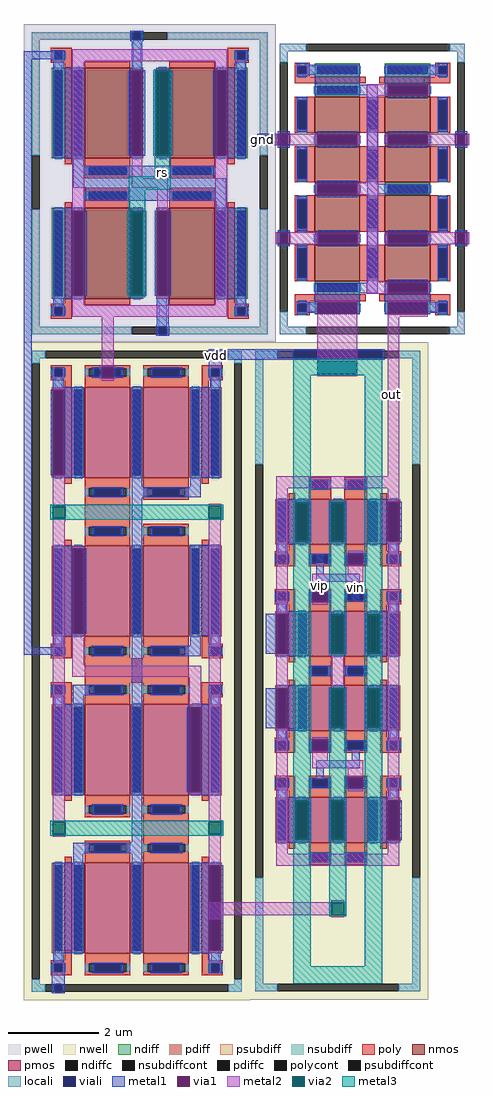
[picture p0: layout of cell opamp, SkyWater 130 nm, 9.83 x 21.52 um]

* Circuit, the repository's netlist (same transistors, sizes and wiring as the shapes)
** sch_path: /home/riff/mbkm-polytron/opamp/mag/opamp.sch
.subckt opamp VDD GND RS VIN VIP OUT
*.PININFO VDD:B GND:B RS:B VIN:B VIP:B OUT:B
x1 net3 net2 RS GND nmoscs
x2 net4 OUT GND nmoscs2
x3 VDD net1 net3 net2 pmoscs
x4 VDD net1 VIP VIN OUT net4 pmosdiff
.ends

* expanding   symbol:  nmoscs.sym # of pins=4
** sym_path: /home/riff/mbkm-polytron/opamp/mag/nmoscs.sym
** sch_path: /home/riff/mbkm-polytron/opamp/mag/nmoscs.sch
.subckt nmoscs D3 D4 RS GND
*.PININFO RS:B D3:B D4:B GND:B
XM4 D4 D3 RS GND sky130_fd_pr__nfet_01v8 L=1 W=2 nf=1 m=2
XM3 D3 D3 GND GND sky130_fd_pr__nfet_01v8 L=1 W=2 nf=1 m=2
XM1 D3 D3 D3 GND sky130_fd_pr__nfet_01v8 L=0.15 W=2 nf=1 m=2
XM2 D4 D4 D4 GND sky130_fd_pr__nfet_01v8 L=0.15 W=2 nf=1 m=2
.ends


* expanding   symbol:  nmoscs2.sym # of pins=3
** sym_path: /home/riff/mbkm-polytron/opamp/mag/nmoscs2.sym
** sch_path: /home/riff/mbkm-polytron/opamp/mag/nmoscs2.sch
.subckt nmoscs2 D8 D9 GND
*.PININFO GND:B D9:B D8:B
XM8 D8 D8 GND GND sky130_fd_pr__nfet_01v8 L=0.8 W=1 nf=1 m=4
XM9 D9 D8 GND GND sky130_fd_pr__nfet_01v8 L=0.8 W=1 nf=1 m=4
XM1 D8 D8 D8 GND sky130_fd_pr__nfet_01v8 L=0.15 W=1 nf=1 m=2
XM2 D9 D9 D9 GND sky130_fd_pr__nfet_01v8 L=0.15 W=1 nf=1 m=2
.ends


* expanding   symbol:  pmoscs.sym # of pins=4
** sym_path: /home/riff/mbkm-polytron/opamp/mag/pmoscs.sym
** sch_path: /home/riff/mbkm-polytron/opamp/mag/pmoscs.sch
.subckt pmoscs VDD D5 D1 D2
*.PININFO VDD:B D5:B D2:B D1:B
XM5 D5 D2 VDD VDD sky130_fd_pr__pfet_01v8 L=1 W=2 nf=1 m=2
XM2 D2 D2 VDD VDD sky130_fd_pr__pfet_01v8 L=1 W=2 nf=1 m=2
XM1 D1 D2 VDD VDD sky130_fd_pr__pfet_01v8 L=1 W=2 nf=1 m=2
XM3 VDD VDD VDD VDD sky130_fd_pr__pfet_01v8 L=1 W=2 nf=1 m=2
XM4 VDD VDD VDD VDD sky130_fd_pr__pfet_01v8 L=0.15 W=2 nf=1 m=2
XM6 D1 D1 D1 VDD sky130_fd_pr__pfet_01v8 L=0.15 W=2 nf=1 m=2
XM7 D2 D2 D2 VDD sky130_fd_pr__pfet_01v8 L=0.15 W=2 nf=1 m=2
XM8 D5 D5 D5 VDD sky130_fd_pr__pfet_01v8 L=0.15 W=2 nf=1 m=2
.ends


* expanding   symbol:  pmosdiff.sym # of pins=6
** sym_path: /home/riff/mbkm-polytron/opamp/mag/pmosdiff.sym
** sch_path: /home/riff/mbkm-polytron/opamp/mag/pmosdiff.sch
.subckt pmosdiff VDD D5 VIP VIN OUT D6
*.PININFO VIP:I VIN:I D6:B D5:B OUT:O VDD:B
XM6 D6 VIN D5 VDD sky130_fd_pr__pfet_01v8 L=0.5 W=1 nf=1 m=4
XM7 OUT VIP D5 VDD sky130_fd_pr__pfet_01v8 L=0.5 W=1 nf=1 m=4
XM1 D6 D6 D6 VDD sky130_fd_pr__pfet_01v8 L=0.15 W=1 nf=1 m=4
XM2 OUT OUT OUT VDD sky130_fd_pr__pfet_01v8 L=0.15 W=1 nf=1 m=4
.ends

.end

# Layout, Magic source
magic
tech sky130A
magscale 1 2
<< locali >>
rect 1046 3790 1134 3824
<< viali >>
rect 1012 3790 1046 3824
<< metal1 >>
rect -30 4161 140 4195
rect -30 1568 6 4161
rect 1000 3824 1135 3833
rect 1000 3790 1012 3824
rect 1046 3790 1135 3824
rect 1000 3781 1135 3790
rect 1255 3039 1265 3091
rect 1441 3039 1451 3091
rect 1565 3036 1575 3088
rect 1751 3036 1761 3088
rect 786 2836 1156 2882
rect 304 2753 314 2805
rect 366 2753 376 2805
rect 1417 1768 1451 1891
rect -30 1534 140 1568
<< via1 >>
rect 1265 3039 1441 3091
rect 1575 3036 1751 3088
rect 314 2753 366 2805
<< metal2 >>
rect 1265 3091 1441 3101
rect 314 2805 366 3076
rect 1265 2829 1441 3039
rect 1265 2763 1441 2773
rect 1575 3088 1751 3098
rect 1575 3026 1751 3036
rect 314 2743 366 2753
rect 1575 2268 1627 3026
rect 1242 1817 1310 1891
rect 786 442 844 444
rect 1327 442 1383 452
rect 786 386 1327 442
rect 1383 386 1392 442
rect 786 367 844 386
rect 1327 376 1383 386
<< via2 >>
rect 1265 2773 1441 2829
rect 1327 386 1383 442
<< metal3 >>
rect 547 3584 619 3735
rect 1255 2829 1451 2834
rect 1255 2773 1265 2829
rect 1441 2773 1451 2829
rect 1255 2768 1451 2773
rect 1317 442 1393 712
rect 1317 386 1327 442
rect 1383 386 1393 442
rect 1317 381 1393 386
use nmoscs2  nmoscs2_0
transform 0 -1 1719 1 0 1867
box 1081 -216 2363 638
use nmoscs  nmoscs_0
transform 1 0 183 0 1 4165
box -213 -1253 899 151
use pmoscs  pmoscs_0
transform 1 0 148 0 1 752
box -178 -740 820 2160
use pmosdiff  pmosdiff_0
transform 1 0 1054 0 1 684
box -98 -671 700 2228
<< labels >>
flabel viali 1025 3807 1025 3807 0 FreeSans 480 0 0 0 gnd
port 1 nsew
flabel metal1 818 2856 818 2856 0 FreeSans 480 0 0 0 vdd
port 0 nsew
flabel metal2 1592 2680 1592 2680 0 FreeSans 480 0 0 0 out
port 2 nsew
flabel metal2 1275 1841 1275 1841 0 FreeSans 480 0 0 0 vip
port 3 nsew
flabel metal1 1431 1833 1431 1833 0 FreeSans 480 0 0 0 vin
port 4 nsew
flabel metal3 583 3660 583 3660 0 FreeSans 480 0 0 0 rs
port 5 nsew
<< end >>

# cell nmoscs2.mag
magic
tech sky130A
magscale 1 2
<< psubdiff >>
rect 1081 585 1180 619
rect 2280 585 2363 619
rect 1081 504 1115 585
rect 2329 504 2363 585
rect 1081 -163 1115 -130
rect 2329 -163 2363 -130
rect 1081 -197 1180 -163
rect 2280 -197 2363 -163
<< psubdiffcont >>
rect 1180 585 2280 619
rect 1081 -130 1115 504
rect 2329 -130 2363 504
rect 1180 -197 2280 -163
<< poly >>
rect 1165 538 1257 554
rect 1165 504 1181 538
rect 1215 504 1257 538
rect 1165 488 1257 504
rect 1227 466 1257 488
rect 2187 538 2279 554
rect 2187 504 2229 538
rect 2263 504 2279 538
rect 2187 488 2279 504
rect 2187 462 2217 488
rect 1227 -66 1257 -44
rect 1165 -82 1257 -66
rect 1165 -116 1181 -82
rect 1215 -116 1257 -82
rect 1165 -132 1257 -116
rect 2187 -66 2217 -15
rect 2187 -82 2279 -66
rect 2187 -116 2229 -82
rect 2263 -116 2279 -82
rect 2187 -132 2279 -116
<< polycont >>
rect 1181 504 1215 538
rect 2229 504 2263 538
rect 1181 -116 1215 -82
rect 2229 -116 2263 -82
<< locali >>
rect 1081 585 1180 619
rect 2280 585 2363 619
rect 1081 504 1115 585
rect 1165 504 1181 538
rect 1215 504 1231 538
rect 2213 504 2229 538
rect 2263 504 2279 538
rect 2329 504 2363 585
rect 1181 466 1215 504
rect 2229 462 2263 504
rect 1181 -82 1215 -44
rect 2229 -82 2263 -15
rect 1165 -116 1181 -82
rect 1215 -116 1231 -82
rect 2213 -116 2229 -82
rect 2263 -116 2279 -82
rect 1081 -163 1115 -130
rect 2329 -163 2363 -130
rect 1081 -197 1180 -163
rect 2280 -197 2363 -163
<< viali >>
rect 1487 585 1521 619
rect 1923 585 1957 619
rect 1181 504 1215 538
rect 2229 504 2263 538
rect 1181 -116 1215 -82
rect 2229 -116 2263 -82
rect 1487 -197 1521 -163
rect 1923 -197 1957 -163
<< metal1 >>
rect 1468 576 1478 628
rect 1530 576 1540 628
rect 1904 576 1914 628
rect 1966 576 1976 628
rect 1169 538 1227 544
rect 1169 504 1181 538
rect 1215 504 1227 538
rect 1169 498 1227 504
rect 2217 538 2275 544
rect 2217 504 2229 538
rect 2263 504 2275 538
rect 2217 498 2275 504
rect 1175 466 1221 498
rect 2223 466 2269 498
rect 1175 266 1309 466
rect 1468 277 1478 453
rect 1530 277 1540 453
rect 1686 278 1696 454
rect 1748 278 1758 454
rect 1904 278 1914 454
rect 1966 278 1976 454
rect 2135 266 2269 466
rect 1262 234 1308 266
rect 2135 234 2181 266
rect 1262 188 2181 234
rect 1262 187 2125 188
rect 1175 144 1309 156
rect 1175 -31 1260 144
rect 1175 -44 1213 -31
rect 1219 -32 1260 -31
rect 1312 -32 1322 144
rect 1468 -32 1478 144
rect 1530 -32 1540 144
rect 1219 -44 1309 -32
rect 1699 -44 1745 187
rect 2135 144 2269 156
rect 1904 -32 1914 144
rect 1966 -32 1976 144
rect 2122 -32 2132 144
rect 2184 -32 2269 144
rect 2135 -44 2269 -32
rect 1175 -76 1221 -44
rect 2223 -76 2269 -44
rect 1169 -82 1227 -76
rect 1169 -116 1181 -82
rect 1215 -116 1227 -82
rect 1169 -122 1227 -116
rect 2217 -82 2275 -76
rect 2217 -116 2229 -82
rect 2263 -116 2275 -82
rect 2217 -122 2275 -116
rect 1468 -206 1478 -154
rect 1530 -206 1540 -154
rect 1904 -206 1914 -154
rect 1966 -206 1976 -154
<< via1 >>
rect 1478 619 1530 628
rect 1478 585 1487 619
rect 1487 585 1521 619
rect 1521 585 1530 619
rect 1478 576 1530 585
rect 1914 619 1966 628
rect 1914 585 1923 619
rect 1923 585 1957 619
rect 1957 585 1966 619
rect 1914 576 1966 585
rect 1478 277 1530 453
rect 1696 278 1748 454
rect 1914 278 1966 454
rect 1260 -32 1312 144
rect 1478 -32 1530 144
rect 1914 -32 1966 144
rect 2132 -32 2184 144
rect 1478 -163 1530 -154
rect 1478 -197 1487 -163
rect 1487 -197 1521 -163
rect 1521 -197 1530 -163
rect 1478 -206 1530 -197
rect 1914 -163 1966 -154
rect 1914 -197 1923 -163
rect 1923 -197 1957 -163
rect 1957 -197 1966 -163
rect 1914 -206 1966 -197
<< metal2 >>
rect 1478 628 1530 638
rect 1478 453 1530 576
rect 1914 628 1966 638
rect 1478 267 1530 277
rect 1696 454 1748 464
rect 1696 237 1748 278
rect 1914 454 1966 576
rect 1914 268 1966 278
rect 1260 185 2184 237
rect 1260 144 1312 185
rect 1260 -42 1312 -32
rect 1478 144 1530 154
rect 1478 -154 1530 -32
rect 1478 -216 1530 -206
rect 1914 144 1966 154
rect 1914 -154 1966 -32
rect 2132 144 2184 185
rect 2132 -42 2184 -32
rect 1914 -216 1966 -206
use sky130_fd_pr__nfet_01v8_6H9P4D  sky130_fd_pr__nfet_01v8_6H9P4D_0
transform 1 0 2202 0 1 56
box -73 -126 73 126
use sky130_fd_pr__nfet_01v8_6H9P4D  sky130_fd_pr__nfet_01v8_6H9P4D_1
transform 1 0 1242 0 1 56
box -73 -126 73 126
use sky130_fd_pr__nfet_01v8_6H9P4D  sky130_fd_pr__nfet_01v8_6H9P4D_2
transform 1 0 1242 0 1 366
box -73 -126 73 126
use sky130_fd_pr__nfet_01v8_6H9P4D  sky130_fd_pr__nfet_01v8_6H9P4D_3
transform 1 0 2202 0 1 366
box -73 -126 73 126
use sky130_fd_pr__nfet_01v8_YJHC9X  sky130_fd_pr__nfet_01v8_YJHC9X_0
transform 1 0 1722 0 1 211
box -465 -343 465 343
<< labels >>
flabel metal1 1248 383 1248 383 0 FreeSans 480 0 0 0 d8
port 1 nsew
flabel metal1 1243 49 1243 49 0 FreeSans 480 0 0 0 d9
port 2 nsew
flabel locali 2292 609 2292 609 0 FreeSans 480 0 0 0 gnd
port 0 nsew
<< end >>

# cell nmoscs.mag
magic
tech sky130A
magscale 1 2
<< pwell >>
rect -213 -1253 899 151
<< psubdiff >>
rect -177 81 263 115
rect 421 81 863 115
rect -177 -427 -143 81
rect -177 -1183 -143 -667
rect 829 -427 863 81
rect 829 -1183 863 -667
rect -177 -1217 263 -1183
rect 421 -1217 863 -1183
<< psubdiffcont >>
rect 263 81 421 115
rect -177 -667 -143 -427
rect 829 -667 863 -427
rect 263 -1217 421 -1183
<< poly >>
rect -93 30 -1 46
rect -93 -4 -77 30
rect -43 -4 -1 30
rect -93 -20 -1 -4
rect -31 -42 -1 -20
rect 687 30 779 46
rect 687 -4 729 30
rect 763 -4 779 30
rect 687 -20 779 -4
rect 687 -42 717 -20
rect -31 -1082 -1 -1060
rect -93 -1098 -1 -1082
rect -93 -1132 -77 -1098
rect -43 -1132 -1 -1098
rect -93 -1148 -1 -1132
rect 687 -1082 717 -1080
rect 687 -1098 779 -1082
rect 687 -1132 729 -1098
rect 763 -1132 779 -1098
rect 687 -1148 779 -1132
<< polycont >>
rect -77 -4 -43 30
rect 729 -4 763 30
rect -77 -1132 -43 -1098
rect 729 -1132 763 -1098
<< locali >>
rect -177 81 263 115
rect 421 81 863 115
rect -177 -427 -143 81
rect -93 -4 -77 30
rect -43 -4 -27 30
rect -77 -42 -43 -4
rect 269 -39 303 81
rect 713 -4 729 30
rect 763 -4 779 30
rect 729 -42 763 -4
rect 829 -427 863 81
rect -177 -1183 -143 -667
rect -77 -1098 -43 -1060
rect -93 -1132 -77 -1098
rect -43 -1132 -27 -1098
rect 383 -1183 417 -1048
rect 729 -1098 763 -1060
rect 713 -1132 729 -1098
rect 763 -1132 779 -1098
rect 829 -1183 863 -667
rect -177 -1217 263 -1183
rect 421 -1217 863 -1183
<< viali >>
rect 269 81 303 115
rect -77 -4 -43 30
rect 729 -4 763 30
rect 269 -430 303 -54
rect 383 -430 417 -54
rect 269 -1048 303 -672
rect 383 -1048 417 -672
rect -77 -1132 -43 -1098
rect 729 -1132 763 -1098
rect 383 -1217 417 -1183
<< metal1 >>
rect 257 115 315 121
rect 257 81 269 115
rect 303 81 315 115
rect 257 75 315 81
rect -89 30 -31 36
rect -89 -4 -77 30
rect -43 -4 -31 30
rect -89 -10 -31 -4
rect -83 -42 -37 -10
rect -83 -442 51 -42
rect 263 -54 309 75
rect 717 30 775 36
rect 717 -4 729 30
rect 763 -4 775 30
rect 717 -10 775 -4
rect 723 -42 769 -10
rect 377 -54 423 -42
rect 635 -54 769 -42
rect 250 -430 260 -54
rect 312 -430 322 -54
rect 364 -430 374 -54
rect 426 -430 436 -54
rect 622 -430 632 -54
rect 684 -430 769 -54
rect 263 -442 309 -430
rect 377 -442 423 -430
rect 635 -442 769 -430
rect 5 -474 51 -442
rect 5 -530 625 -474
rect 5 -572 681 -530
rect 61 -628 681 -572
rect 635 -660 681 -628
rect -83 -672 51 -660
rect 263 -672 309 -660
rect 377 -672 423 -660
rect -83 -1048 2 -672
rect 54 -1048 64 -672
rect 250 -1048 260 -672
rect 312 -1048 322 -672
rect 364 -1048 374 -672
rect 426 -1048 436 -672
rect -83 -1060 51 -1048
rect 263 -1060 309 -1048
rect -83 -1092 -37 -1060
rect -89 -1098 -31 -1092
rect -89 -1132 -77 -1098
rect -43 -1132 -31 -1098
rect -89 -1138 -31 -1132
rect 374 -1177 426 -1048
rect 635 -1060 769 -660
rect 723 -1092 769 -1060
rect 717 -1098 775 -1092
rect 717 -1132 729 -1098
rect 763 -1132 775 -1098
rect 717 -1138 775 -1132
rect 371 -1183 429 -1177
rect 371 -1217 383 -1183
rect 417 -1217 429 -1183
rect 371 -1223 429 -1217
<< via1 >>
rect 260 -430 269 -54
rect 269 -430 303 -54
rect 303 -430 312 -54
rect 374 -430 383 -54
rect 383 -430 417 -54
rect 417 -430 426 -54
rect 632 -430 684 -54
rect 2 -1048 54 -672
rect 260 -1048 269 -672
rect 269 -1048 303 -672
rect 303 -1048 312 -672
rect 374 -1048 383 -672
rect 383 -1048 417 -672
rect 417 -1048 426 -672
<< metal2 >>
rect 1 -13 684 39
rect 2 -672 54 -13
rect 260 -54 312 -48
rect 260 -440 312 -430
rect 372 -54 428 -44
rect 372 -440 428 -430
rect 632 -54 684 -13
rect 263 -530 309 -440
rect 263 -572 423 -530
rect 377 -662 423 -572
rect 2 -1089 54 -1048
rect 258 -672 314 -662
rect 258 -1058 314 -1048
rect 374 -672 426 -662
rect 374 -1060 426 -1048
rect 632 -1089 684 -430
rect 2 -1141 684 -1089
<< via2 >>
rect 372 -430 374 -54
rect 374 -430 426 -54
rect 426 -430 428 -54
rect 258 -1048 260 -672
rect 260 -1048 312 -672
rect 312 -1048 314 -672
<< metal3 >>
rect 362 -54 438 -49
rect 358 -430 372 -54
rect 428 -430 442 -54
rect 362 -435 438 -430
rect 364 -521 436 -435
rect 250 -581 436 -521
rect 250 -667 322 -581
rect 248 -672 324 -667
rect 244 -1048 258 -672
rect 314 -1048 328 -672
rect 248 -1053 324 -1048
use sky130_fd_pr__nfet_01v8_27FZYL  sky130_fd_pr__nfet_01v8_27FZYL_0
transform 1 0 343 0 1 -273
box -344 -257 344 257
use sky130_fd_pr__nfet_01v8_Q6296P  sky130_fd_pr__nfet_01v8_Q6296P_0
transform 1 0 343 0 1 -829
box -344 -257 344 257
use sky130_fd_pr__nfet_01v8_TC9PLT  sky130_fd_pr__nfet_01v8_TC9PLT_0
transform 1 0 702 0 1 -860
box -73 -226 73 226
use sky130_fd_pr__nfet_01v8_TC9PLT  sky130_fd_pr__nfet_01v8_TC9PLT_1
transform 1 0 -16 0 1 -242
box -73 -226 73 226
use sky130_fd_pr__nfet_01v8_TC9PLT  sky130_fd_pr__nfet_01v8_TC9PLT_2
transform 1 0 -16 0 1 -860
box -73 -226 73 226
use sky130_fd_pr__nfet_01v8_TC9PLT  sky130_fd_pr__nfet_01v8_TC9PLT_3
transform 1 0 702 0 1 -242
box -73 -226 73 226
<< labels >>
flabel viali 398 -1196 398 -1196 0 FreeSans 480 0 0 0 gnd
port 0 nsew
flabel metal1 -17 -169 -17 -169 0 FreeSans 480 0 0 0 d3
port 1 nsew
flabel metal2 653 -12 653 -12 0 FreeSans 480 0 0 0 d4
port 2 nsew
flabel metal3 395 -462 395 -462 0 FreeSans 480 0 0 0 rs
port 3 nsew
<< end >>

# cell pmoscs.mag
magic
tech sky130A
magscale 1 2
<< nwell >>
rect -178 -740 820 2160
<< nsubdiff >>
rect -142 2090 -82 2124
rect 724 2090 784 2124
rect -142 2068 -108 2090
rect 750 2068 784 2090
rect -142 -670 -108 -648
rect 750 -670 784 -648
rect -142 -704 -82 -670
rect 724 -704 784 -670
<< nsubdiffcont >>
rect -82 2090 724 2124
rect -142 -648 -108 2068
rect 750 -648 784 2068
rect -82 -704 724 -670
<< poly >>
rect -58 2044 34 2060
rect -58 2010 -42 2044
rect -8 2010 34 2044
rect -58 1994 34 2010
rect 4 1963 34 1994
rect 608 2044 700 2060
rect 608 2010 650 2044
rect 684 2010 700 2044
rect 608 1994 700 2010
rect 608 1969 638 1994
rect 92 1359 292 1467
rect 4 832 34 852
rect -58 816 34 832
rect -58 782 -42 816
rect -8 782 34 816
rect -58 766 34 782
rect 608 832 638 863
rect 608 816 700 832
rect 608 782 650 816
rect 684 782 700 816
rect 350 767 550 768
rect -58 645 34 661
rect 92 660 550 767
rect 608 766 700 782
rect 92 659 292 660
rect -58 611 -42 645
rect -8 611 34 645
rect -58 595 34 611
rect 4 564 34 595
rect 608 645 700 661
rect 608 611 650 645
rect 684 611 700 645
rect 608 595 700 611
rect 608 564 638 595
rect 350 -37 550 67
rect 4 -565 34 -520
rect -58 -581 34 -565
rect -58 -615 -42 -581
rect -8 -615 34 -581
rect -58 -631 34 -615
rect 608 -565 638 -560
rect 608 -581 700 -565
rect 608 -615 650 -581
rect 684 -615 700 -581
rect 608 -631 700 -615
<< polycont >>
rect -42 2010 -8 2044
rect 650 2010 684 2044
rect -42 782 -8 816
rect 650 782 684 816
rect -42 611 -8 645
rect 650 611 684 645
rect -42 -615 -8 -581
rect 650 -615 684 -581
<< locali >>
rect -142 2090 -82 2124
rect 724 2090 784 2124
rect -142 2068 -108 2090
rect 750 2068 784 2090
rect -58 2010 -42 2044
rect -8 2010 8 2044
rect 634 2010 650 2044
rect 684 2010 700 2044
rect -42 1963 -8 2010
rect 650 1966 684 2010
rect -42 816 -8 876
rect 650 816 684 863
rect -58 782 -42 816
rect -8 782 8 816
rect 634 782 650 816
rect 684 782 700 816
rect -58 611 -42 645
rect -8 611 8 645
rect 634 611 650 645
rect 684 611 700 645
rect -42 565 -8 611
rect 650 564 684 611
rect -42 -581 -8 -521
rect 650 -581 684 -535
rect -58 -615 -43 -581
rect -8 -615 8 -581
rect 634 -615 650 -581
rect 684 -615 700 -581
rect -142 -670 -108 -648
rect 750 -670 784 -648
rect -142 -704 -82 -670
rect 724 -704 784 -670
<< viali >>
rect 650 2090 684 2124
rect -42 2010 -8 2044
rect 650 2010 684 2044
rect -42 782 -8 816
rect 650 782 684 816
rect -42 611 -8 645
rect 650 611 684 645
rect -43 -615 -42 -581
rect -42 -615 -9 -581
rect 650 -615 684 -581
rect -42 -704 -8 -670
<< metal1 >>
rect 638 2124 696 2130
rect 638 2090 650 2124
rect 684 2090 696 2124
rect -54 2044 4 2050
rect -54 2010 -42 2044
rect -8 2010 4 2044
rect -54 2004 4 2010
rect 638 2044 696 2090
rect 638 2010 650 2044
rect 684 2010 696 2044
rect 638 2004 696 2010
rect -49 1963 -2 2004
rect -49 1951 86 1963
rect -59 1575 -49 1951
rect 3 1575 86 1951
rect -48 1563 86 1575
rect 298 1522 344 1964
rect 645 1963 690 2004
rect 556 1563 690 1963
rect 556 1522 602 1563
rect 298 1476 384 1522
rect 521 1476 602 1522
rect -48 1252 86 1263
rect -48 876 36 1252
rect 88 876 98 1252
rect -48 863 86 876
rect -48 822 -2 863
rect -54 816 4 822
rect -54 782 -42 816
rect -8 782 4 816
rect -54 776 4 782
rect -54 645 4 651
rect -54 611 -42 645
rect -8 611 4 645
rect -54 605 4 611
rect 39 605 121 651
rect -48 564 -2 605
rect 39 564 86 605
rect -48 164 86 564
rect 298 -47 344 1476
rect 555 868 689 1267
rect 556 867 689 868
rect 556 822 602 867
rect 644 822 690 863
rect 521 776 603 822
rect 638 816 696 822
rect 638 782 650 816
rect 684 782 696 816
rect 638 776 696 782
rect 638 645 696 651
rect 638 611 650 645
rect 684 611 696 645
rect 638 605 696 611
rect 644 564 690 605
rect 556 552 690 564
rect 543 176 553 552
rect 605 176 690 552
rect 556 164 690 176
rect 41 -93 121 -47
rect 258 -93 344 -47
rect 41 -134 85 -93
rect -48 -534 86 -134
rect 298 -534 344 -93
rect 556 -146 690 -134
rect 556 -522 639 -146
rect 691 -522 701 -146
rect 556 -534 690 -522
rect -48 -575 -2 -534
rect 639 -575 690 -534
rect -54 -581 4 -575
rect -54 -615 -43 -581
rect -9 -615 4 -581
rect -54 -670 4 -615
rect 638 -581 696 -575
rect 638 -615 650 -581
rect 684 -615 696 -581
rect 638 -621 696 -615
rect -54 -704 -42 -670
rect -8 -704 4 -670
rect -54 -710 4 -704
<< via1 >>
rect -49 1575 3 1951
rect 36 876 88 1252
rect 553 176 605 552
rect 639 -522 691 -146
<< metal2 >>
rect -49 1951 3 1961
rect -49 1448 3 1575
rect -51 1438 5 1448
rect -51 1372 5 1382
rect 637 1439 693 1449
rect 637 1373 693 1383
rect -49 55 3 1372
rect 36 1252 88 1262
rect 36 734 88 876
rect 36 686 605 734
rect 553 552 605 686
rect 553 166 605 176
rect 639 55 691 1373
rect -51 45 5 55
rect -51 -21 5 -11
rect 637 45 693 55
rect 637 -21 693 -11
rect 639 -146 691 -21
rect 639 -532 691 -522
<< via2 >>
rect -51 1382 5 1438
rect 637 1383 693 1439
rect -51 -11 5 45
rect 637 -11 693 45
<< metal3 >>
rect -61 1439 703 1444
rect -61 1438 637 1439
rect -61 1382 -51 1438
rect 5 1383 637 1438
rect 693 1383 703 1439
rect 5 1382 703 1383
rect -61 1378 703 1382
rect -61 1377 15 1378
rect -61 45 703 50
rect -61 -11 -51 45
rect 5 -11 637 45
rect 693 -11 703 45
rect -61 -16 703 -11
use sky130_fd_pr__pfet_01v8_2ZH9AN  sky130_fd_pr__pfet_01v8_2ZH9AN_0
transform 1 0 19 0 1 364
box -109 -262 109 262
use sky130_fd_pr__pfet_01v8_2ZH9AN  sky130_fd_pr__pfet_01v8_2ZH9AN_1
transform 1 0 623 0 1 1763
box -109 -262 109 262
use sky130_fd_pr__pfet_01v8_2ZH9AN  sky130_fd_pr__pfet_01v8_2ZH9AN_2
transform 1 0 623 0 1 1063
box -109 -262 109 262
use sky130_fd_pr__pfet_01v8_2ZH9AN  sky130_fd_pr__pfet_01v8_2ZH9AN_3
transform 1 0 623 0 1 364
box -109 -262 109 262
use sky130_fd_pr__pfet_01v8_2ZH9AN  sky130_fd_pr__pfet_01v8_2ZH9AN_4
transform 1 0 623 0 1 -334
box -109 -262 109 262
use sky130_fd_pr__pfet_01v8_2ZH9AN  sky130_fd_pr__pfet_01v8_2ZH9AN_5
transform 1 0 19 0 1 -334
box -109 -262 109 262
use sky130_fd_pr__pfet_01v8_2ZH9AN  sky130_fd_pr__pfet_01v8_2ZH9AN_6
transform 1 0 19 0 1 1063
box -109 -262 109 262
use sky130_fd_pr__pfet_01v8_2ZH9AN  sky130_fd_pr__pfet_01v8_2ZH9AN_7
transform 1 0 19 0 1 1763
box -109 -262 109 262
use sky130_fd_pr__pfet_01v8_SDE6B7  sky130_fd_pr__pfet_01v8_SDE6B7_0
transform 1 0 321 0 1 1763
box -323 -300 323 300
use sky130_fd_pr__pfet_01v8_SDE6B7  sky130_fd_pr__pfet_01v8_SDE6B7_1
transform 1 0 321 0 1 1063
box -323 -300 323 300
use sky130_fd_pr__pfet_01v8_SDE6B7  sky130_fd_pr__pfet_01v8_SDE6B7_2
transform 1 0 321 0 1 364
box -323 -300 323 300
use sky130_fd_pr__pfet_01v8_SDE6B7  sky130_fd_pr__pfet_01v8_SDE6B7_3
transform 1 0 321 0 1 -334
box -323 -300 323 300
<< labels >>
flabel metal1 584 816 584 816 0 FreeSans 480 0 0 0 d2
port 2 nsew
flabel metal2 64 776 64 776 0 FreeSans 480 0 0 0 d1
port 1 nsew
flabel metal1 664 2074 664 2074 0 FreeSans 480 0 0 0 vdd
port 0 nsew
flabel nwell 183 -351 183 -351 0 FreeSans 160 0 0 0 D
flabel nwell -23 -342 -23 -342 0 FreeSans 160 0 0 0 S
flabel nwell 61 -338 61 -338 0 FreeSans 160 0 0 0 S
flabel nwell 319 -339 319 -339 0 FreeSans 160 0 0 0 S
flabel nwell 428 -353 428 -353 0 FreeSans 160 0 0 0 M5
flabel nwell 578 -334 578 -334 0 FreeSans 160 0 0 0 D5
flabel nwell 667 -339 667 -339 0 FreeSans 160 0 0 0 D5
flabel nwell 666 361 666 361 0 FreeSans 160 0 0 0 D1
flabel nwell 578 362 578 362 0 FreeSans 160 0 0 0 D1
flabel nwell 463 367 463 367 0 FreeSans 160 0 0 0 M1
flabel nwell 320 367 320 367 0 FreeSans 160 0 0 0 S
flabel nwell 199 366 199 366 0 FreeSans 160 0 0 0 M2
flabel nwell 624 366 624 366 0 FreeSans 160 0 0 0 D
flabel nwell 623 -336 623 -336 0 FreeSans 160 0 0 0 D
flabel nwell 25 -333 25 -333 0 FreeSans 160 0 0 0 D
flabel nwell 19 366 19 366 0 FreeSans 160 0 0 0 D
flabel nwell 63 365 63 365 0 FreeSans 160 0 0 0 D2
flabel nwell -25 365 -25 365 0 FreeSans 160 0 0 0 D2
flabel nwell 621 1056 621 1056 0 FreeSans 160 0 0 0 D
flabel nwell 669 1056 669 1056 0 FreeSans 160 0 0 0 D2
flabel nwell 579 1060 579 1060 0 FreeSans 160 0 0 0 D2
flabel nwell 460 1063 460 1063 0 FreeSans 160 0 0 0 M2
flabel nwell 320 1060 320 1060 0 FreeSans 160 0 0 0 S
flabel nwell 181 1062 181 1062 0 FreeSans 160 0 0 0 M1
flabel nwell 63 1063 63 1063 0 FreeSans 160 0 0 0 D1
flabel nwell 17 1060 17 1060 0 FreeSans 160 0 0 0 D
flabel nwell -25 1063 -25 1063 0 FreeSans 160 0 0 0 D1
flabel nwell 667 1761 667 1761 0 FreeSans 160 0 0 0 S
flabel nwell 621 1762 621 1762 0 FreeSans 160 0 0 0 D
flabel nwell 579 1762 579 1762 0 FreeSans 160 0 0 0 S
flabel nwell 463 1762 463 1762 0 FreeSans 160 0 0 0 D
flabel nwell 320 1762 320 1762 0 FreeSans 160 0 0 0 S
flabel nwell 192 1762 192 1762 0 FreeSans 160 0 0 0 M5
flabel nwell 63 1763 63 1763 0 FreeSans 160 0 0 0 D5
flabel nwell 17 1762 17 1762 0 FreeSans 160 0 0 0 D
flabel nwell -25 1762 -25 1762 0 FreeSans 160 0 0 0 D5
flabel metal2 670 711 670 711 0 FreeSans 480 0 0 0 d5
port 3 nsew
<< end >>

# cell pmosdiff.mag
magic
tech sky130A
magscale 1 2
<< nwell >>
rect -98 -671 700 2228
<< pmos >>
rect 488 220 518 221
<< pdiff >>
rect 518 220 576 221
<< nsubdiff >>
rect -62 2158 33 2192
rect 569 2158 664 2192
rect -62 1690 -28 2158
rect 630 1690 664 2158
rect -62 -600 -28 -132
rect 630 -600 664 -132
rect -62 -634 33 -600
rect 569 -634 664 -600
<< nsubdiffcont >>
rect 33 2158 569 2192
rect -62 -132 -28 1690
rect 630 -132 664 1690
rect 33 -634 569 -600
<< poly >>
rect 84 1306 114 1326
rect 22 1290 114 1306
rect 22 1256 38 1290
rect 72 1256 114 1290
rect 22 1240 114 1256
rect 488 1306 518 1322
rect 488 1290 580 1306
rect 488 1256 530 1290
rect 564 1256 580 1290
rect 488 1240 580 1256
rect 22 1124 114 1140
rect 22 1090 38 1124
rect 72 1090 114 1124
rect 22 1074 114 1090
rect 84 1051 114 1074
rect 488 1124 580 1140
rect 488 1090 530 1124
rect 564 1090 580 1124
rect 488 1074 580 1090
rect 488 1043 518 1074
rect 84 484 114 527
rect 22 468 114 484
rect 22 434 38 468
rect 72 434 114 468
rect 22 418 114 434
rect 488 484 518 500
rect 488 468 580 484
rect 488 434 530 468
rect 564 434 580 468
rect 488 418 580 434
rect 22 302 114 318
rect 22 268 38 302
rect 72 268 114 302
rect 22 252 114 268
rect 84 221 114 252
rect 488 302 580 318
rect 488 268 530 302
rect 564 268 580 302
rect 488 252 580 268
rect 488 221 518 252
<< polycont >>
rect 38 1256 72 1290
rect 530 1256 564 1290
rect 38 1090 72 1124
rect 530 1090 564 1124
rect 38 434 72 468
rect 530 434 564 468
rect 38 268 72 302
rect 530 268 564 302
<< locali >>
rect -62 2158 33 2192
rect 569 2158 664 2192
rect -62 1690 -28 2158
rect 630 1690 664 2158
rect 38 1290 72 1364
rect 530 1290 564 1354
rect 22 1256 38 1290
rect 72 1256 88 1290
rect 514 1256 530 1290
rect 564 1256 580 1290
rect 22 1090 38 1124
rect 72 1090 88 1124
rect 514 1090 530 1124
rect 564 1090 580 1124
rect 38 1043 72 1090
rect 530 1044 564 1090
rect 38 468 72 527
rect 530 468 564 512
rect 22 434 38 468
rect 72 434 88 468
rect 514 434 530 468
rect 564 434 580 468
rect 22 268 38 302
rect 72 268 88 302
rect 514 268 530 302
rect 564 268 580 302
rect 38 221 72 268
rect 530 220 564 268
rect -62 -600 -28 -132
rect 630 -600 664 -132
rect -62 -634 33 -600
rect 569 -634 664 -600
<< viali >>
rect 105 2158 497 2192
rect 38 1256 72 1290
rect 530 1256 564 1290
rect 38 1090 72 1124
rect 530 1090 564 1124
rect 38 434 72 468
rect 530 434 564 468
rect 38 268 72 302
rect 530 268 564 302
<< metal1 >>
rect 93 2192 509 2198
rect 93 2158 105 2192
rect 497 2158 509 2192
rect 93 2152 509 2158
rect 32 1525 166 1537
rect 436 1525 570 1537
rect 32 1349 117 1525
rect 169 1349 179 1525
rect 265 1349 275 1525
rect 327 1349 337 1525
rect 436 1349 521 1525
rect 573 1349 583 1525
rect 32 1337 166 1349
rect 436 1337 570 1349
rect 32 1296 78 1337
rect 26 1290 84 1296
rect 26 1256 38 1290
rect 72 1256 84 1290
rect 26 1250 84 1256
rect 205 1207 239 1290
rect 336 1247 346 1299
rect 414 1247 424 1299
rect 524 1296 570 1337
rect 518 1290 576 1296
rect 518 1256 530 1290
rect 564 1256 576 1290
rect 518 1250 576 1256
rect 205 1173 397 1207
rect 26 1124 84 1130
rect 26 1090 38 1124
rect 72 1090 84 1124
rect 26 1084 84 1090
rect 32 1043 77 1084
rect 178 1081 188 1133
rect 256 1081 266 1133
rect 363 1090 397 1173
rect 518 1124 576 1130
rect 518 1090 530 1124
rect 564 1090 576 1124
rect 518 1084 576 1090
rect 524 1043 570 1084
rect 32 1031 166 1043
rect 436 1031 570 1043
rect -16 855 29 1031
rect 81 855 166 1031
rect 265 855 275 1031
rect 327 855 337 1031
rect 423 855 433 1031
rect 485 855 570 1031
rect 32 843 166 855
rect 436 843 570 855
rect 32 703 166 715
rect 436 703 570 715
rect -16 527 29 703
rect 81 527 166 703
rect 265 527 275 703
rect 327 527 337 703
rect 423 527 433 703
rect 485 527 570 703
rect 32 515 166 527
rect 436 515 570 527
rect 32 474 77 515
rect 26 468 84 474
rect 26 434 38 468
rect 72 434 84 468
rect 26 428 84 434
rect 178 425 188 477
rect 256 425 266 477
rect 523 474 570 515
rect 518 468 576 474
rect 518 434 530 468
rect 564 434 576 468
rect 518 428 576 434
rect 363 385 397 428
rect 205 351 397 385
rect 205 308 239 351
rect 26 302 84 308
rect 26 268 38 302
rect 72 268 84 302
rect 26 262 84 268
rect 32 221 78 262
rect 336 259 346 311
rect 414 259 424 311
rect 518 302 576 308
rect 518 268 530 302
rect 564 268 576 302
rect 518 262 576 268
rect 524 221 570 262
rect 32 209 166 221
rect 436 209 570 221
rect 32 33 117 209
rect 169 33 179 209
rect 265 33 275 209
rect 327 33 337 209
rect 436 33 521 209
rect 573 33 583 209
rect 32 21 166 33
rect 436 21 570 33
<< via1 >>
rect 117 1349 169 1525
rect 275 1349 327 1525
rect 521 1349 573 1525
rect 346 1247 414 1299
rect 188 1081 256 1133
rect 29 855 81 1031
rect 275 855 327 1031
rect 433 855 485 1031
rect 29 527 81 703
rect 275 527 327 703
rect 433 527 485 703
rect 188 425 256 477
rect 346 259 414 311
rect 117 33 169 209
rect 275 33 327 209
rect 521 33 573 209
<< metal2 >>
rect 29 1585 573 1637
rect 29 1031 81 1585
rect 115 1525 171 1535
rect 115 1339 171 1349
rect 273 1525 329 1535
rect 273 1339 329 1349
rect 521 1525 573 1585
rect 275 1337 327 1339
rect 346 1299 414 1309
rect 346 1207 414 1247
rect 188 1173 414 1207
rect 188 1133 256 1173
rect 188 1071 256 1081
rect 275 1041 327 1043
rect 29 703 81 855
rect 273 1031 329 1041
rect 273 845 329 855
rect 431 1031 487 1041
rect 431 845 487 855
rect 275 713 327 845
rect 29 -27 81 527
rect 273 703 329 713
rect 273 517 329 527
rect 431 703 487 713
rect 431 517 487 527
rect 275 515 327 517
rect 188 477 256 487
rect 188 385 256 425
rect 188 351 414 385
rect 346 311 414 351
rect 346 249 414 259
rect 275 219 327 221
rect 115 209 171 219
rect 115 23 171 33
rect 273 209 329 219
rect 273 23 329 33
rect 521 209 573 1349
rect 521 -27 573 33
rect 29 -79 573 -27
<< via2 >>
rect 115 1349 117 1525
rect 117 1349 169 1525
rect 169 1349 171 1525
rect 273 1349 275 1525
rect 275 1349 327 1525
rect 327 1349 329 1525
rect 273 855 275 1031
rect 275 855 327 1031
rect 327 855 329 1031
rect 431 855 433 1031
rect 433 855 485 1031
rect 485 855 487 1031
rect 273 527 275 703
rect 275 527 327 703
rect 327 527 329 703
rect 431 527 433 703
rect 433 527 485 703
rect 485 527 487 703
rect 115 33 117 209
rect 117 33 169 209
rect 169 33 171 209
rect 273 33 275 209
rect 275 33 327 209
rect 327 33 329 209
<< metal3 >>
rect 105 2082 497 2158
rect 105 1525 181 2082
rect 105 1349 115 1525
rect 171 1349 181 1525
rect 105 209 181 1349
rect 263 1525 339 1530
rect 263 1349 273 1525
rect 329 1349 339 1525
rect 263 1031 339 1349
rect 263 855 273 1031
rect 329 855 339 1031
rect 263 850 339 855
rect 421 1031 497 2082
rect 421 855 431 1031
rect 487 855 497 1031
rect 105 33 115 209
rect 171 33 181 209
rect 105 -524 181 33
rect 263 703 339 708
rect 263 527 273 703
rect 329 527 339 703
rect 263 209 339 527
rect 263 33 273 209
rect 329 33 339 209
rect 263 28 339 33
rect 421 703 497 855
rect 421 527 431 703
rect 487 527 497 703
rect 421 -524 497 527
rect 105 -600 497 -524
use sky130_fd_pr__pfet_01v8_2XUZHN  sky130_fd_pr__pfet_01v8_2XUZHN_0
transform 1 0 99 0 1 943
box -109 -162 109 162
use sky130_fd_pr__pfet_01v8_2XUZHN  sky130_fd_pr__pfet_01v8_2XUZHN_1
transform 1 0 99 0 1 121
box -109 -162 109 162
use sky130_fd_pr__pfet_01v8_2XUZHN  sky130_fd_pr__pfet_01v8_2XUZHN_2
transform 1 0 503 0 1 943
box -109 -162 109 162
use sky130_fd_pr__pfet_01v8_2XUZHN  sky130_fd_pr__pfet_01v8_2XUZHN_3
transform 1 0 503 0 1 615
box -109 -162 109 162
use sky130_fd_pr__pfet_01v8_2XUZHN  sky130_fd_pr__pfet_01v8_2XUZHN_4
transform 1 0 503 0 1 1437
box -109 -162 109 162
use sky130_fd_pr__pfet_01v8_2XUZHN  sky130_fd_pr__pfet_01v8_2XUZHN_5
transform 1 0 503 0 1 121
box -109 -162 109 162
use sky130_fd_pr__pfet_01v8_2XUZHN  sky130_fd_pr__pfet_01v8_2XUZHN_6
transform 1 0 99 0 1 615
box -109 -162 109 162
use sky130_fd_pr__pfet_01v8_2XUZHN  sky130_fd_pr__pfet_01v8_2XUZHN_7
transform 1 0 99 0 1 1437
box -109 -162 109 162
use sky130_fd_pr__pfet_01v8_6HVNUH  sky130_fd_pr__pfet_01v8_6HVNUH_0
transform 1 0 301 0 1 779
box -223 -364 223 364
use sky130_fd_pr__pfet_01v8_BHVYY6  sky130_fd_pr__pfet_01v8_BHVYY6_0
transform 1 0 301 0 1 121
box -223 -200 223 200
use sky130_fd_pr__pfet_01v8_BHVYY6  sky130_fd_pr__pfet_01v8_BHVYY6_1
transform 1 0 301 0 1 1437
box -223 -200 223 200
<< labels >>
flabel metal2 303 777 303 777 0 FreeSans 160 0 0 0 d5
port 0 nsew
flabel via1 548 1434 548 1434 0 FreeSans 160 0 0 0 out
port 1 nsew
flabel via2 144 1436 144 1436 0 FreeSans 160 0 0 0 d6
port 2 nsew
flabel via1 219 1108 219 1108 0 FreeSans 160 0 0 0 vip
port 3 nsew
flabel metal1 220 1273 220 1273 0 FreeSans 160 0 0 0 vin
port 4 nsew
flabel viali 303 2173 303 2173 0 FreeSans 160 0 0 0 vdd
port 5 nsew
<< end >>

# cell sky130_fd_pr__pfet_01v8_2XUZHN: kit device sky130_fd_pr__pfet_01v8, w 1 l 0.15 m 1 nf 1 diffcov 100 polycov 100 guard 0 glc 1 grc 1 gtc 1 gbc 1 tbcov 100 rlcov 100 topc 0 botc 0 poverlap 0 doverlap 1 lmin 0.15 wmin 0.42 compatible {sky130_fd_pr__pfet_01v8 sky130_fd_pr__pfet_01v8_lvt sky130_fd_pr__pfet_01v8_hvt sky130_fd_pr__pfet_g5v0d10v5} full_metal 1 viasrc 100 viadrn 100 viagate 100 viagb 0 viagr 0 viagl 0 viagt 0

# cell sky130_fd_pr__pfet_01v8_6HVNUH: kit device sky130_fd_pr__pfet_01v8, w 1 l 0.5 m 2 nf 2 diffcov 100 polycov 100 guard 0 glc 1 grc 1 gtc 1 gbc 1 tbcov 100 rlcov 100 topc 1 botc 1 poverlap 1 doverlap 1 lmin 0.15 wmin 0.42 compatible {sky130_fd_pr__pfet_01v8 sky130_fd_pr__pfet_01v8_lvt sky130_fd_pr__pfet_01v8_hvt sky130_fd_pr__pfet_g5v0d10v5} full_metal 1 viasrc 100 viadrn 100 viagate 100 viagb 0 viagr 0 viagl 0 viagt 0

# cell sky130_fd_pr__pfet_01v8_BHVYY6: kit device sky130_fd_pr__pfet_01v8, w 1 l 0.5 m 1 nf 2 diffcov 100 polycov 100 guard 0 glc 1 grc 1 gtc 1 gbc 1 tbcov 100 rlcov 100 topc 1 botc 1 poverlap 0 doverlap 1 lmin 0.15 wmin 0.42 compatible {sky130_fd_pr__pfet_01v8 sky130_fd_pr__pfet_01v8_lvt sky130_fd_pr__pfet_01v8_hvt sky130_fd_pr__pfet_g5v0d10v5} full_metal 1 viasrc 100 viadrn 100 viagate 100 viagb 0 viagr 0 viagl 0 viagt 0

# cell sky130_fd_pr__pfet_01v8_2ZH9AN: kit device sky130_fd_pr__pfet_01v8, w 2 l 0.15 m 1 nf 1 diffcov 100 polycov 100 guard 0 glc 1 grc 1 gtc 1 gbc 1 tbcov 100 rlcov 100 topc 0 botc 0 poverlap 0 doverlap 1 lmin 0.15 wmin 0.42 compatible {sky130_fd_pr__pfet_01v8 sky130_fd_pr__pfet_01v8_lvt sky130_fd_pr__pfet_01v8_hvt sky130_fd_pr__pfet_g5v0d10v5} full_metal 1 viasrc 100 viadrn 100 viagate 100 viagb 0 viagr 0 viagl 0 viagt 0

# cell sky130_fd_pr__pfet_01v8_SDE6B7: kit device sky130_fd_pr__pfet_01v8, w 2 l 1 m 1 nf 2 diffcov 100 polycov 100 guard 0 glc 1 grc 1 gtc 1 gbc 1 tbcov 100 rlcov 100 topc 1 botc 1 poverlap 0 doverlap 1 lmin 0.15 wmin 0.42 compatible {sky130_fd_pr__pfet_01v8 sky130_fd_pr__pfet_01v8_lvt sky130_fd_pr__pfet_01v8_hvt sky130_fd_pr__pfet_g5v0d10v5} full_metal 1 viasrc 100 viadrn 100 viagate 70 viagb 0 viagr 0 viagl 0 viagt 0

# cell sky130_fd_pr__nfet_01v8_27FZYL: kit device sky130_fd_pr__nfet_01v8, w 2 l 1 m 1 nf 2 diffcov 100 polycov 100 guard 0 glc 1 grc 1 gtc 1 gbc 1 tbcov 100 rlcov 100 topc 0 botc 1 poverlap 0 doverlap 0 lmin 0.15 wmin 0.42 compatible {sky130_fd_pr__nfet_01v8 sky130_fd_pr__nfet_01v8_lvt sky130_fd_bs_flash__special_sonosfet_star sky130_fd_pr__nfet_g5v0d10v5 sky130_fd_pr__nfet_05v0_nvt sky130_fd_pr__nfet_03v3_nvt} full_metal 1 viasrc 100 viadrn 100 viagate 100 viagb 0 viagr 0 viagl 0 viagt 0

# cell sky130_fd_pr__nfet_01v8_Q6296P: kit device sky130_fd_pr__nfet_01v8, w 2 l 1 m 1 nf 2 diffcov 100 polycov 100 guard 0 glc 1 grc 1 gtc 1 gbc 1 tbcov 100 rlcov 100 topc 1 botc 0 poverlap 0 doverlap 0 lmin 0.15 wmin 0.42 compatible {sky130_fd_pr__nfet_01v8 sky130_fd_pr__nfet_01v8_lvt sky130_fd_bs_flash__special_sonosfet_star sky130_fd_pr__nfet_g5v0d10v5 sky130_fd_pr__nfet_05v0_nvt sky130_fd_pr__nfet_03v3_nvt} full_metal 1 viasrc 100 viadrn 100 viagate 100 viagb 0 viagr 0 viagl 0 viagt 0

# cell sky130_fd_pr__nfet_01v8_TC9PLT: kit device sky130_fd_pr__nfet_01v8, w 2 l 0.150 m 1 nf 1 diffcov 100 polycov 100 guard 0 glc 1 grc 1 gtc 1 gbc 1 tbcov 100 rlcov 100 topc 0 botc 0 poverlap 0 doverlap 1 lmin 0.15 wmin 0.42 compatible {sky130_fd_pr__nfet_01v8 sky130_fd_pr__nfet_01v8_lvt sky130_fd_bs_flash__special_sonosfet_star sky130_fd_pr__nfet_g5v0d10v5 sky130_fd_pr__nfet_05v0_nvt sky130_fd_pr__nfet_03v3_nvt} full_metal 1 viasrc 100 viadrn 100 viagate 100 viagb 0 viagr 0 viagl 0 viagt 0

# cell sky130_fd_pr__nfet_01v8_6H9P4D: kit device sky130_fd_pr__nfet_01v8, w 1 l 0.150 m 1 nf 1 diffcov 100 polycov 100 guard 0 glc 1 grc 1 gtc 1 gbc 1 tbcov 100 rlcov 100 topc 0 botc 0 poverlap 0 doverlap 1 lmin 0.15 wmin 0.42 compatible {sky130_fd_pr__nfet_01v8 sky130_fd_pr__nfet_01v8_lvt sky130_fd_bs_flash__special_sonosfet_star sky130_fd_pr__nfet_g5v0d10v5 sky130_fd_pr__nfet_05v0_nvt sky130_fd_pr__nfet_03v3_nvt} full_metal 1 viasrc 100 viadrn 100 viagate 100 viagb 0 viagr 0 viagl 0 viagt 0

# cell sky130_fd_pr__nfet_01v8_YJHC9X: kit device sky130_fd_pr__nfet_01v8, w 1 l 0.8 m 2 nf 4 diffcov 100 polycov 100 guard 0 glc 1 grc 1 gtc 1 gbc 1 tbcov 100 rlcov 100 topc 1 botc 1 poverlap 1 doverlap 1 lmin 0.15 wmin 0.42 compatible {sky130_fd_pr__nfet_01v8 sky130_fd_pr__nfet_01v8_lvt sky130_fd_bs_flash__special_sonosfet_star sky130_fd_pr__nfet_g5v0d10v5 sky130_fd_pr__nfet_05v0_nvt sky130_fd_pr__nfet_03v3_nvt} full_metal 1 viasrc 100 viadrn 100 viagate 100 viagb 0 viagr 0 viagl 0 viagt 0
